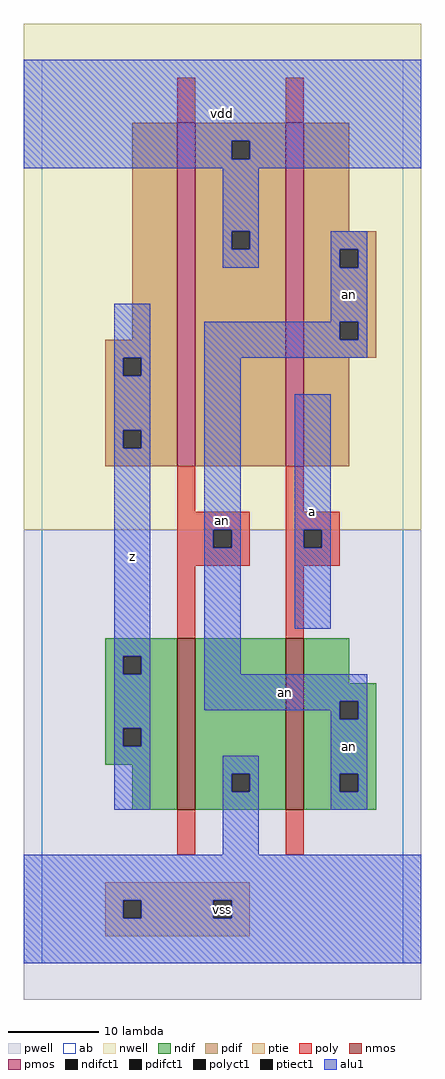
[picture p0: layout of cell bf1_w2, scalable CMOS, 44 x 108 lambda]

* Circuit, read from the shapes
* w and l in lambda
.subckt bf1_w2 a an vdd vss z
M1 vss an z vss nfet w=19 l=2
M2 an a vss vss nfet w=19 l=2
M3 vdd an z n1 pfet w=38 l=2
M4 an a vdd n1 pfet w=38 l=2
.ends

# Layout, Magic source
magic
tech scmos
<< ab >>
rect 0 0 40 100
<< nwell >>
rect -2 48 42 104
<< pwell >>
rect -2 -4 42 48
<< poly >>
rect 15 93 17 98
rect 27 93 29 98
rect 15 50 17 55
rect 27 50 29 55
rect 15 48 23 50
rect 15 46 19 48
rect 21 46 23 48
rect 15 44 23 46
rect 27 48 33 50
rect 27 46 29 48
rect 31 46 33 48
rect 27 44 33 46
rect 15 36 17 44
rect 27 36 29 44
rect 15 12 17 17
rect 27 12 29 17
<< ndif >>
rect 7 34 15 36
rect 7 32 9 34
rect 11 32 15 34
rect 7 26 15 32
rect 7 24 9 26
rect 11 24 15 26
rect 7 22 15 24
rect 10 17 15 22
rect 17 21 27 36
rect 17 19 21 21
rect 23 19 27 21
rect 17 17 27 19
rect 29 31 34 36
rect 29 29 37 31
rect 29 27 33 29
rect 35 27 37 29
rect 29 21 37 27
rect 29 19 33 21
rect 35 19 37 21
rect 29 17 37 19
<< pdif >>
rect 10 69 15 93
rect 7 67 15 69
rect 7 65 9 67
rect 11 65 15 67
rect 7 59 15 65
rect 7 57 9 59
rect 11 57 15 59
rect 7 55 15 57
rect 17 91 27 93
rect 17 89 21 91
rect 23 89 27 91
rect 17 81 27 89
rect 17 79 21 81
rect 23 79 27 81
rect 17 55 27 79
rect 29 81 34 93
rect 29 79 37 81
rect 29 77 33 79
rect 35 77 37 79
rect 29 71 37 77
rect 29 69 33 71
rect 35 69 37 71
rect 29 67 37 69
rect 29 55 34 67
<< alu1 >>
rect -2 91 42 100
rect -2 89 21 91
rect 23 89 42 91
rect -2 88 42 89
rect 20 81 24 88
rect 20 79 21 81
rect 23 79 24 81
rect 20 77 24 79
rect 32 79 36 81
rect 32 77 33 79
rect 35 77 36 79
rect 8 67 12 73
rect 32 71 36 77
rect 8 65 9 67
rect 11 65 12 67
rect 8 59 12 65
rect 8 57 9 59
rect 11 57 12 59
rect 8 34 12 57
rect 8 32 9 34
rect 11 32 12 34
rect 8 26 12 32
rect 18 69 33 71
rect 35 69 36 71
rect 18 67 36 69
rect 18 48 22 67
rect 18 46 19 48
rect 21 46 22 48
rect 18 32 22 46
rect 28 48 32 63
rect 28 46 29 48
rect 31 46 32 48
rect 28 37 32 46
rect 18 29 36 32
rect 18 28 33 29
rect 8 24 9 26
rect 11 24 12 26
rect 8 17 12 24
rect 32 27 33 28
rect 35 27 36 29
rect 20 21 24 23
rect 20 19 21 21
rect 23 19 24 21
rect 20 12 24 19
rect 32 21 36 27
rect 32 19 33 21
rect 35 19 36 21
rect 32 17 36 19
rect -2 7 42 12
rect -2 5 9 7
rect 11 5 19 7
rect 21 5 42 7
rect -2 0 42 5
<< ptie >>
rect 7 7 23 9
rect 7 5 9 7
rect 11 5 19 7
rect 21 5 23 7
rect 7 3 23 5
<< nmos >>
rect 15 17 17 36
rect 27 17 29 36
<< pmos >>
rect 15 55 17 93
rect 27 55 29 93
<< polyct1 >>
rect 19 46 21 48
rect 29 46 31 48
<< ndifct1 >>
rect 9 32 11 34
rect 9 24 11 26
rect 21 19 23 21
rect 33 27 35 29
rect 33 19 35 21
<< ptiect1 >>
rect 9 5 11 7
rect 19 5 21 7
<< pdifct1 >>
rect 9 65 11 67
rect 9 57 11 59
rect 21 89 23 91
rect 21 79 23 81
rect 33 77 35 79
rect 33 69 35 71
<< labels >>
rlabel alu1 10 45 10 45 6 z
rlabel ptiect1 20 6 20 6 6 vss
rlabel alu1 20 49 20 49 6 an
rlabel alu1 20 94 20 94 6 vdd
rlabel alu1 34 24 34 24 6 an
rlabel alu1 27 30 27 30 6 an
rlabel alu1 30 50 30 50 6 a
rlabel alu1 34 74 34 74 6 an
<< end >>
